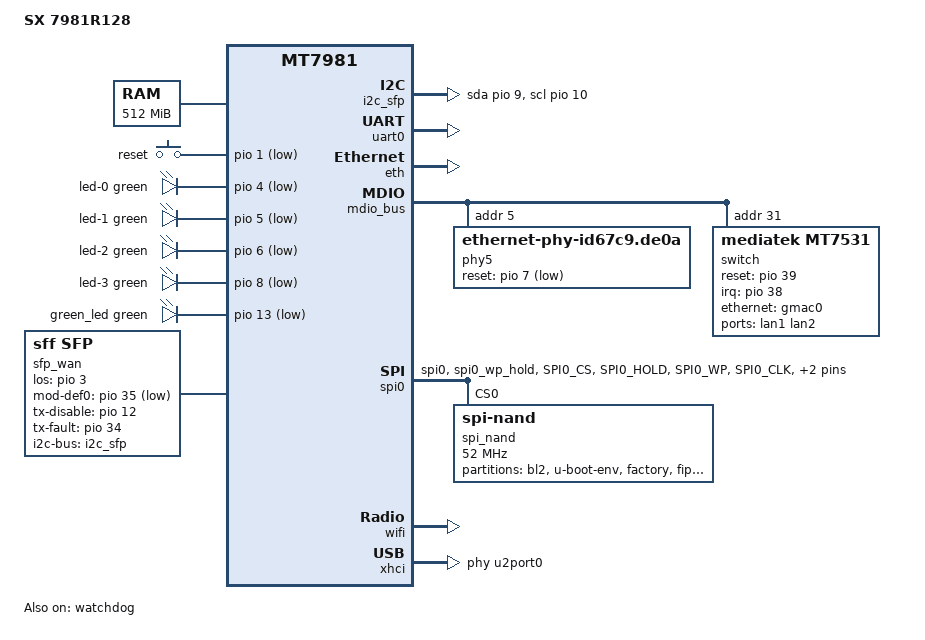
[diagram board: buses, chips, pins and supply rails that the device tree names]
// SPDX-License-Identifier: GPL-2.0-or-later OR MIT
/*
 * SX 7981R128 — kernel 6.6 (padavanonly) 版本
 * 基于 kernel 6.18 移植版本调整：
 *  - mt7981b.dtsi → mt7981.dtsi（padavanonly 分支无 a/b 拆分）
 *  - 补充显式 #include gpio/input bindings
 *  - 添加 memory 节点（512 MB）
 *  - 移除 spi-cal-* 属性（6.6 内核不支持）
 */

/dts-v1/;

#include <dt-bindings/gpio/gpio.h>
#include <dt-bindings/input/input.h>
#include <dt-bindings/leds/common.h>
#include "mt7981.dtsi"

/ {
	model = "SX 7981R128";
	compatible = "sx,7981r128", "mediatek,mt7981";

	aliases {
		label-mac-device = &gmac0;
		led-boot = &green_led;
		led-failsafe = &green_led;
		led-running = &green_led;
		led-upgrade = &green_led;
		serial0 = &uart0;
	};

	chosen {
		stdout-path = "serial0:115200n8";
	};

	memory@40000000 {
		reg = <0 0x40000000 0 0x20000000>;
	};

	gpio-keys {
		compatible = "gpio-keys";

		button-reset {
			label = "reset";
			linux,code = <KEY_RESTART>;
			gpios = <&pio 1 GPIO_ACTIVE_LOW>;
		};
	};

	gpio-leds {
		compatible = "gpio-leds";

		led-0 {
			function = LED_FUNCTION_WAN;
			color = <LED_COLOR_ID_GREEN>;
			gpios = <&pio 4 GPIO_ACTIVE_LOW>;
		};

		led-1 {
			function = LED_FUNCTION_WLAN_5GHZ;
			color = <LED_COLOR_ID_GREEN>;
			gpios = <&pio 5 GPIO_ACTIVE_LOW>;
		};

		led-2 {
			function = LED_FUNCTION_WLAN_2GHZ;
			color = <LED_COLOR_ID_GREEN>;
			gpios = <&pio 6 GPIO_ACTIVE_LOW>;
		};

		led-3 {
			function = LED_FUNCTION_LAN;
			color = <LED_COLOR_ID_GREEN>;
			gpios = <&pio 8 GPIO_ACTIVE_LOW>;
		};

		green_led: led-4 {
			function = LED_FUNCTION_POWER;
			color = <LED_COLOR_ID_GREEN>;
			gpios = <&pio 13 GPIO_ACTIVE_LOW>;
		};
	};

	/* I2C bit-bang bus for SFP module EEPROM */
	i2c_sfp: i2c-gpio {
		compatible = "i2c-gpio";
		sda-gpios = <&pio 9 (GPIO_ACTIVE_HIGH | GPIO_OPEN_DRAIN)>;
		scl-gpios = <&pio 10 (GPIO_ACTIVE_HIGH | GPIO_OPEN_DRAIN)>;
		i2c-gpio,delay-us = <2>;
		#address-cells = <1>;
		#size-cells = <0>;
	};

	sfp_wan: sfp {
		compatible = "sff,sfp";
		i2c-bus = <&i2c_sfp>;
		los-gpios = <&pio 3 GPIO_ACTIVE_HIGH>;
		mod-def0-gpios = <&pio 35 GPIO_ACTIVE_LOW>;
		tx-disable-gpios = <&pio 12 GPIO_ACTIVE_HIGH>;
		tx-fault-gpios = <&pio 34 GPIO_ACTIVE_HIGH>;
		maximum-power-milliwatt = <3000>;
	};
};

&uart0 {
	status = "okay";
};

&watchdog {
	status = "okay";
};

&eth {
	pinctrl-names = "default";
	pinctrl-0 = <&mdio_pins>;
	status = "okay";

	gmac0: mac@0 {
		compatible = "mediatek,eth-mac";
		reg = <0>;
		phy-mode = "2500base-x";

		fixed-link {
			speed = <2500>;
			full-duplex;
			pause;
		};
	};

	gmac1: mac@1 {
		compatible = "mediatek,eth-mac";
		reg = <1>;
		phy-mode = "2500base-x";
		managed = "in-band-status";
		sfp = <&sfp_wan>;
	};
};

&mdio_bus {
	/* Airoha EN8801S 2.5G PHY on switch port 5 */
	phy5: phy@5 {
		compatible = "ethernet-phy-id67c9.de0a";
		reg = <5>;
		reset-gpios = <&pio 7 GPIO_ACTIVE_LOW>;
		reset-assert-us = <600>;
		reset-deassert-us = <20000>;
		phy-mode = "2500base-x";
	};

	switch: switch@1f {
		compatible = "mediatek,mt7531";
		reg = <31>;
		reset-gpios = <&pio 39 GPIO_ACTIVE_HIGH>;
		interrupt-controller;
		#interrupt-cells = <1>;
		interrupt-parent = <&pio>;
		interrupts = <38 IRQ_TYPE_LEVEL_HIGH>;

		ports {
			#address-cells = <1>;
			#size-cells = <0>;

			port@1 {
				reg = <1>;
				label = "lan1";
			};

			/* 2.5G LAN port via external Airoha EN8801S PHY */
			port@5 {
				reg = <5>;
				label = "lan2";
				phy-mode = "2500base-x";
				phy-handle = <&phy5>;
			};

			port@6 {
				reg = <6>;
				ethernet = <&gmac0>;
				phy-mode = "2500base-x";

				fixed-link {
					speed = <2500>;
					full-duplex;
					pause;
				};
			};
		};
	};
};

&pio {
	spi0_flash_pins: spi0-pins {
		mux {
			function = "spi";
			groups = "spi0", "spi0_wp_hold";
		};

		conf-pu {
			pins = "SPI0_CS", "SPI0_HOLD", "SPI0_WP";
			drive-strength = <MTK_DRIVE_8mA>;
			bias-pull-up = <MTK_PUPD_SET_R1R0_11>;
		};

		conf-pd {
			pins = "SPI0_CLK", "SPI0_MOSI", "SPI0_MISO";
			drive-strength = <MTK_DRIVE_8mA>;
			bias-pull-down = <MTK_PUPD_SET_R1R0_11>;
		};
	};
};

&spi0 {
	pinctrl-names = "default";
	pinctrl-0 = <&spi0_flash_pins>;
	status = "okay";

	spi_nand: flash@0 {
		compatible = "spi-nand";
		reg = <0>;
		spi-max-frequency = <52000000>;
		spi-tx-bus-width = <4>;
		spi-rx-bus-width = <4>;

		mediatek,nmbm;
		mediatek,bmt-max-ratio = <1>;
		mediatek,bmt-max-reserved-blocks = <64>;

		partitions {
			compatible = "fixed-partitions";
			#address-cells = <1>;
			#size-cells = <1>;

			partition@0 {
				label = "bl2";
				reg = <0x0 0x100000>;
				read-only;
			};

			partition@100000 {
				label = "u-boot-env";
				reg = <0x100000 0x80000>;
			};

			partition@180000 {
				label = "factory";
				reg = <0x180000 0x200000>;
				read-only;

				nvmem-layout {
					compatible = "fixed-layout";
					#address-cells = <1>;
					#size-cells = <1>;

					eeprom_factory: eeprom@0 {
						reg = <0x0 0x1000>;
					};
				};
			};

			partition@380000 {
				label = "fip";
				reg = <0x380000 0x200000>;
				read-only;
			};

			partition@580000 {
				label = "ubi";
				reg = <0x580000 0x7200000>;
			};
		};
	};
};

&wifi {
	nvmem-cell-names = "eeprom";
	nvmem-cells = <&eeprom_factory>;
	status = "okay";
};

&xhci {
	phys = <&u2port0 PHY_TYPE_USB2>,
	       <&u3port0 PHY_TYPE_USB3>;
	status = "okay";
};
